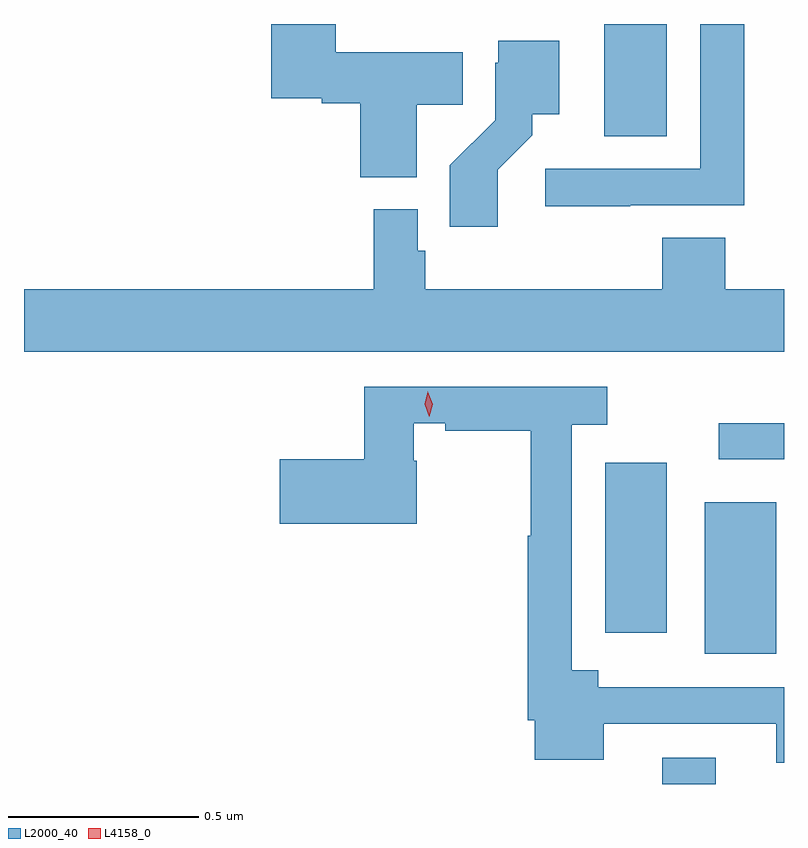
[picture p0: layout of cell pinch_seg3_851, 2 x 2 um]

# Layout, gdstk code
import gdstk
lib = gdstk.Library(unit=1e-6, precision=1e-09)
def R(c, l, rs):  # rectangles x0, y0, x1, y1
    for r in rs: c.add(gdstk.rectangle(r[:2], r[2:], *l))
def P(c, l, *ps):  # polygons
    for p in ps: c.add(gdstk.Polygon(p, *l))
L2000_40 = (2000, 40)
L4158_0 = (4158, 0)

pinch_seg3_851 = lib.new_cell('pinch_seg3_851')
R(pinch_seg3_851, L2000_40, [(714.923,738.406,715.063,738.475), (715.034,738.749,715.222,739.147), (714.773,738.804,714.934,739.252), (715.071,739.26,715.243,739.356), (714.77,740.11,714.934,740.406)])
P(pinch_seg3_851, L2000_40, [(714.839,739.929),(715.139,739.929),(715.139,740.406),(715.023,740.406),(715.023,740.025),(714.615,740.025),(714.615,739.927),(714.839,739.927)],
  [(714.277,740.194),(714.398,740.194),(714.398,740.332),(714.064,740.332),(714.064,740.406),(713.894,740.406),(713.894,740.21),(714.027,740.21),(714.027,740.198),(714.128,740.198),(714.128,740.003),(714.277,740.003)],
  [(714.49,740.023),(714.58,740.113),(714.58,740.168),(714.652,740.168),(714.652,740.362),(714.491,740.362),(714.491,740.304),(714.483,740.304),(714.483,740.153),(714.364,740.034),(714.364,739.872),(714.49,739.872)],
  [(715.243,739.708),(715.088,739.708),(715.088,739.844),(714.923,739.844),(714.923,739.708),(714.299,739.708),(714.299,739.809),(714.279,739.809),(714.279,739.918),(714.163,739.918),(714.163,739.708),(713.243,739.708),(713.243,739.544),(715.243,739.544)],
  [(715.243,738.66),(714.754,738.66),(714.754,738.706),(714.684,738.706),(714.684,739.352),(714.778,739.352),(714.778,739.452),(714.139,739.452),(714.139,739.261),(713.916,739.261),(713.916,739.091),(714.276,739.091),(714.276,739.257),(714.268,739.257),(714.268,739.356),(714.352,739.356),(714.352,739.336),(714.576,739.336),(714.576,739.059),(714.568,739.059),(714.568,738.574),(714.587,738.574),(714.587,738.47),(714.769,738.47),(714.769,738.564),(715.223,738.564),(715.223,738.462),(715.243,738.462)])
P(pinch_seg3_851, L4158_0, [(714.309,739.372),(714.309,739.372),(714.298,739.405),(714.306,739.438),(714.306,739.439),(714.306,739.438),(714.318,739.406),(714.309,739.372)])

lib.write_gds('pinch_seg3_851.gds')
